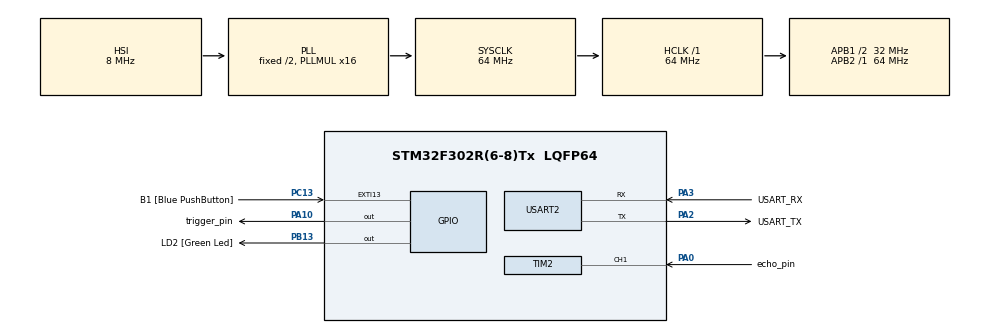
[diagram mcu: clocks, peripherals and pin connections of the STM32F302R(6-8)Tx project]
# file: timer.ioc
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FREERTOS.Tasks01=defaultTask,0,128,StartDefaultTask,Default,NULL
Mcu.Family=STM32F3
Mcu.Name=STM32F302R(6-8)Tx
Mcu.Package=LQFP64
NVIC.PriorityGroup=NVIC_PRIORITYGROUP_4
NVIC.TIM1_BRK_TIM15_IRQn=true\:5\:0\:false\:false\:true\:true\:true
NVIC.TIM2_IRQn=true\:5\:0\:false\:false\:true\:true\:true
PA0.GPIO_Label=echo_pin
PA0.Signal=S_TIM2_CH1_ETR
PA10.GPIO_Label=trigger_pin
PA10.Signal=GPIO_Output
PA13.GPIO_Label=TMS
PA13.Mode=Serial_Wire
PA13.Signal=SYS_JTMS-SWDIO
PA14.GPIO_Label=TCK
PA14.Mode=Serial_Wire
PA14.Signal=SYS_JTCK-SWCLK
PA2.GPIO_Label=USART_TX
PA2.GPIO_Mode=GPIO_MODE_AF_PP
PA2.GPIO_PuPd=GPIO_NOPULL
PA2.GPIO_Speed=GPIO_SPEED_FREQ_LOW
PA2.Mode=Asynchronous
PA2.Signal=USART2_TX
PA3.GPIO_Label=USART_RX
PA3.GPIO_Mode=GPIO_MODE_AF_PP
PA3.GPIO_PuPd=GPIO_NOPULL
PA3.GPIO_Speed=GPIO_SPEED_FREQ_LOW
PA3.Mode=Asynchronous
PA3.Signal=USART2_RX
PB13.GPIO_Label=LD2 [Green Led]
PB13.Signal=GPIO_Output
PB3.GPIO_Label=SWO
PB3.Mode=Trace_Asynchronous_SW
PB3.Signal=SYS_JTDO-TRACESWO
PC13.GPIO_Label=B1 [Blue PushButton]
PC13.GPIO_ModeDefaultEXTI=GPIO_MODE_IT_FALLING
PC13.Signal=GPXTI13
PC14\ -\ OSC32_IN.Mode=LSE-External-Oscillator
PC14\ -\ OSC32_IN.Signal=RCC_OSC32_IN
PC15\ -\ OSC32_OUT.Mode=LSE-External-Oscillator
PC15\ -\ OSC32_OUT.Signal=RCC_OSC32_OUT
PF0-OSC_IN.Mode=HSE-External-Clock-Source
PF0-OSC_IN.Signal=RCC_OSC_IN
PF1-OSC_OUT.Signal=RCC_OSC_OUT
ProjectManager.HeapSize=0x200
ProjectManager.StackSize=0x400
ProjectManager.TargetToolchain=SW4STM32
RCC.AHBFreq_Value=64000000
RCC.APB1CLKDivider=RCC_HCLK_DIV2
RCC.APB1Freq_Value=32000000
RCC.APB1TimFreq_Value=64000000
RCC.APB2Freq_Value=64000000
RCC.APB2TimFreq_Value=64000000
RCC.CortexFreq_Value=64000000
RCC.HCLKFreq_Value=64000000
RCC.HSE_VALUE=8000000
RCC.HSI_VALUE=8000000
RCC.PLLM=8
RCC.PLLMUL=RCC_PLL_MUL16
RCC.PLLN=336
RCC.PLLP=RCC_PLLP_DIV4
RCC.PLLQ=7
RCC.RCC_PLLsource_Clock_Source_FROM_HSE=RCC_HSE_PREDIV_DIV2
RCC.SYSCLKFreq_VALUE=64000000
RCC.SYSCLKSourceVirtual=RCC_SYSCLKSOURCE_PLLCLK
RCC.USBFreq_Value=64000000
SH.S_TIM2_CH1_ETR.0=TIM2_CH1,Input_Capture1_from_TI1
TIM15.Period=9
TIM15.Prescaler=64
TIM2.Channel-Input_Capture1_from_TI1=TIM_CHANNEL_1
TIM2.ICFilter_CH1=15
TIM2.Period=23199
TIM2.Prescaler=64
USART2.VirtualMode-Asynchronous=VM_ASYNC
VP_FREERTOS_VS_ENABLE.Mode=Enabled
VP_TIM15_VS_ClockSourceINT.Mode=Internal
VP_TIM2_VS_ClockSourceINT.Mode=Internal
board=NUCLEO-F302R8

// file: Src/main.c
/**
  ******************************************************************************
  * @file           : main.c
  * @brief          : Main program body
  ******************************************************************************
  * This notice applies to any and all portions of this file
  * that are not between comment pairs USER CODE BEGIN and
  * USER CODE END. Other portions of this file, whether
  * inserted by the user or by software development tools
  * are owned by their respective copyright owners.
  *
  * Copyright (c) 2018 STMicroelectronics International N.V.
  * All rights reserved.
  *
  * Redistribution and use in source and binary forms, with or without
  * modification, are permitted, provided that the following conditions are met:
  *
  * 1. Redistribution of source code must retain the above copyright notice,
  *    this list of conditions and the following disclaimer.
  * 2. Redistributions in binary form must reproduce the above copyright notice,
  *    this list of conditions and the following disclaimer in the documentation
  *    and/or other materials provided with the distribution.
  * 3. Neither the name of STMicroelectronics nor the names of other
  *    contributors to this software may be used to endorse or promote products
  *    derived from this software without specific written permission.
  * 4. This software, including modifications and/or derivative works of this
  *    software, must execute solely and exclusively on microcontroller or
  *    microprocessor devices manufactured by or for STMicroelectronics.
  * 5. Redistribution and use of this software other than as permitted under
  *    this license is void and will automatically terminate your rights under
  *    this license.
  *
  * THIS SOFTWARE IS PROVIDED BY STMICROELECTRONICS AND CONTRIBUTORS "AS IS"
  * AND ANY EXPRESS, IMPLIED OR STATUTORY WARRANTIES, INCLUDING, BUT NOT
  * LIMITED TO, THE IMPLIED WARRANTIES OF MERCHANTABILITY, FITNESS FOR A
  * PARTICULAR PURPOSE AND NON-INFRINGEMENT OF THIRD PARTY INTELLECTUAL PROPERTY
  * RIGHTS ARE DISCLAIMED TO THE FULLEST EXTENT PERMITTED BY LAW. IN NO EVENT
  * SHALL STMICROELECTRONICS OR CONTRIBUTORS BE LIABLE FOR ANY DIRECT, INDIRECT,
  * INCIDENTAL, SPECIAL, EXEMPLARY, OR CONSEQUENTIAL DAMAGES (INCLUDING, BUT NOT
  * LIMITED TO, PROCUREMENT OF SUBSTITUTE GOODS OR SERVICES; LOSS OF USE, DATA,
  * OR PROFITS; OR BUSINESS INTERRUPTION) HOWEVER CAUSED AND ON ANY THEORY OF
  * LIABILITY, WHETHER IN CONTRACT, STRICT LIABILITY, OR TORT (INCLUDING
  * NEGLIGENCE OR OTHERWISE) ARISING IN ANY WAY OUT OF THE USE OF THIS SOFTWARE,
  * EVEN IF ADVISED OF THE POSSIBILITY OF SUCH DAMAGE.
  *
  ******************************************************************************
  */
#include "main.h"
#include "stm32f3xx_hal.h"
#include "cmsis_os.h"

TIM_HandleTypeDef htim2;
TIM_HandleTypeDef htim15;

UART_HandleTypeDef huart2;

osThreadId defaultTaskHandle;

/* USER CODE BEGIN PV */
/* Private variables ---------------------------------------------------------*/
long count = 0;
long input_capture = 0;
uint8_t message[20];
uint8_t compteur = 0;
/* USER CODE END PV */

void SystemClock_Config(void);
static void MX_GPIO_Init(void);
static void MX_USART2_UART_Init(void);
static void MX_TIM2_Init(void);
static void MX_TIM15_Init(void);
void StartDefaultTask(void const * argument);

/* USER CODE BEGIN PFP */
/* Private function prototypes -----------------------------------------------*/
void HAL_TIM_IC_CaptureCallback(TIM_HandleTypeDef *htim);
void vider_message(uint8_t  message[], uint8_t compteur);
/* USER CODE END PFP */

/* USER CODE BEGIN 0 */
void HAL_TIM_IC_CaptureCallback(TIM_HandleTypeDef *htim) {
	if (htim->Instance == TIM2) {
		input_capture = __HAL_TIM_GET_COMPARE(&htim2, TIM_CHANNEL_1);
		__HAL_TIM_SET_COUNTER(&htim2, 0);
	}
	if (htim->Instance == TIM15) {
		compteur = 1;
	}
}

void vider_message(uint8_t  message[], uint8_t compteur) {
	for (int i = 0; i < compteur; i++) {
		message[i] = 0;
	}
}
/* USER CODE END 0 */

int main(void)
{

  /* MCU Configuration----------------------------------------------------------*/

  /* Reset of all peripherals, Initializes the Flash interface and the Systick. */
  HAL_Init();

  /* Configure the system clock */
  SystemClock_Config();

  /* Initialize all configured peripherals */
  MX_GPIO_Init();
  MX_USART2_UART_Init();
  MX_TIM2_Init();
  MX_TIM15_Init();
  /* USER CODE BEGIN 2 */
  HAL_TIM_IC_Start_IT(&htim2, TIM_CHANNEL_1);
  HAL_TIM_Base_Start_IT(&htim15);
  /* USER CODE END 2 */

  /* Create the thread(s) */
  /* definition and creation of defaultTask */
  osThreadDef(defaultTask, StartDefaultTask, osPriorityNormal, 0, 128);
  defaultTaskHandle = osThreadCreate(osThread(defaultTask), NULL);

  /* Start scheduler */
  osKernelStart();

  /* We should never get here as control is now taken by the scheduler */

  /* Infinite loop */
  while (1)
  {

  }

}

void SystemClock_Config(void)
{

  RCC_OscInitTypeDef RCC_OscInitStruct;
  RCC_ClkInitTypeDef RCC_ClkInitStruct;
  RCC_PeriphCLKInitTypeDef PeriphClkInit;

    /**Initializes the CPU, AHB and APB busses clocks
    */
  RCC_OscInitStruct.OscillatorType = RCC_OSCILLATORTYPE_HSI;
  RCC_OscInitStruct.HSIState = RCC_HSI_ON;
  RCC_OscInitStruct.HSICalibrationValue = 16;
  RCC_OscInitStruct.PLL.PLLState = RCC_PLL_ON;
  RCC_OscInitStruct.PLL.PLLSource = RCC_PLLSOURCE_HSI;
  RCC_OscInitStruct.PLL.PLLMUL = RCC_PLL_MUL16;
  if (HAL_RCC_OscConfig(&RCC_OscInitStruct) != HAL_OK)
  {
    _Error_Handler(__FILE__, __LINE__);
  }

    /**Initializes the CPU, AHB and APB busses clocks
    */
  RCC_ClkInitStruct.ClockType = RCC_CLOCKTYPE_HCLK|RCC_CLOCKTYPE_SYSCLK
                              |RCC_CLOCKTYPE_PCLK1|RCC_CLOCKTYPE_PCLK2;
  RCC_ClkInitStruct.SYSCLKSource = RCC_SYSCLKSOURCE_PLLCLK;
  RCC_ClkInitStruct.AHBCLKDivider = RCC_SYSCLK_DIV1;
  RCC_ClkInitStruct.APB1CLKDivider = RCC_HCLK_DIV2;
  RCC_ClkInitStruct.APB2CLKDivider = RCC_HCLK_DIV1;

  if (HAL_RCC_ClockConfig(&RCC_ClkInitStruct, FLASH_LATENCY_2) != HAL_OK)
  {
    _Error_Handler(__FILE__, __LINE__);
  }

  PeriphClkInit.PeriphClockSelection = RCC_PERIPHCLK_TIM15;
  PeriphClkInit.Tim15ClockSelection = RCC_TIM15CLK_HCLK;
  if (HAL_RCCEx_PeriphCLKConfig(&PeriphClkInit) != HAL_OK)
  {
    _Error_Handler(__FILE__, __LINE__);
  }

    /**Configure the Systick interrupt time
    */
  HAL_SYSTICK_Config(HAL_RCC_GetHCLKFreq()/1000);

    /**Configure the Systick
    */
  HAL_SYSTICK_CLKSourceConfig(SYSTICK_CLKSOURCE_HCLK);

  /* SysTick_IRQn interrupt configuration */
  HAL_NVIC_SetPriority(SysTick_IRQn, 15, 0);
}

/* TIM2 init function */
static void MX_TIM2_Init(void)
{

  TIM_ClockConfigTypeDef sClockSourceConfig;
  TIM_MasterConfigTypeDef sMasterConfig;
  TIM_IC_InitTypeDef sConfigIC;

  htim2.Instance = TIM2;
  htim2.Init.Prescaler = 64;
  htim2.Init.CounterMode = TIM_COUNTERMODE_UP;
  htim2.Init.Period = 23199;
  htim2.Init.ClockDivision = TIM_CLOCKDIVISION_DIV1;
  htim2.Init.AutoReloadPreload = TIM_AUTORELOAD_PRELOAD_DISABLE;
  if (HAL_TIM_Base_Init(&htim2) != HAL_OK)
  {
    _Error_Handler(__FILE__, __LINE__);
  }

  sClockSourceConfig.ClockSource = TIM_CLOCKSOURCE_INTERNAL;
  if (HAL_TIM_ConfigClockSource(&htim2, &sClockSourceConfig) != HAL_OK)
  {
    _Error_Handler(__FILE__, __LINE__);
  }

  if (HAL_TIM_IC_Init(&htim2) != HAL_OK)
  {
    _Error_Handler(__FILE__, __LINE__);
  }

  sMasterConfig.MasterOutputTrigger = TIM_TRGO_RESET;
  sMasterConfig.MasterSlaveMode = TIM_MASTERSLAVEMODE_DISABLE;
  if (HAL_TIMEx_MasterConfigSynchronization(&htim2, &sMasterConfig) != HAL_OK)
  {
    _Error_Handler(__FILE__, __LINE__);
  }

  sConfigIC.ICPolarity = TIM_INPUTCHANNELPOLARITY_RISING;
  sConfigIC.ICSelection = TIM_ICSELECTION_DIRECTTI;
  sConfigIC.ICPrescaler = TIM_ICPSC_DIV1;
  sConfigIC.ICFilter = 15;
  if (HAL_TIM_IC_ConfigChannel(&htim2, &sConfigIC, TIM_CHANNEL_1) != HAL_OK)
  {
    _Error_Handler(__FILE__, __LINE__);
  }

}

/* TIM15 init function */
static void MX_TIM15_Init(void)
{

  TIM_ClockConfigTypeDef sClockSourceConfig;
  TIM_MasterConfigTypeDef sMasterConfig;

  htim15.Instance = TIM15;
  htim15.Init.Prescaler = 64;
  htim15.Init.CounterMode = TIM_COUNTERMODE_UP;
  htim15.Init.Period = 9;
  htim15.Init.ClockDivision = TIM_CLOCKDIVISION_DIV1;
  htim15.Init.RepetitionCounter = 0;
  htim15.Init.AutoReloadPreload = TIM_AUTORELOAD_PRELOAD_DISABLE;
  if (HAL_TIM_Base_Init(&htim15) != HAL_OK)
  {
    _Error_Handler(__FILE__, __LINE__);
  }

  sClockSourceConfig.ClockSource = TIM_CLOCKSOURCE_INTERNAL;
  if (HAL_TIM_ConfigClockSource(&htim15, &sClockSourceConfig) != HAL_OK)
  {
    _Error_Handler(__FILE__, __LINE__);
  }

  sMasterConfig.MasterOutputTrigger = TIM_TRGO_RESET;
  sMasterConfig.MasterSlaveMode = TIM_MASTERSLAVEMODE_DISABLE;
  if (HAL_TIMEx_MasterConfigSynchronization(&htim15, &sMasterConfig) != HAL_OK)
  {
    _Error_Handler(__FILE__, __LINE__);
  }

}

/* USART2 init function */
static void MX_USART2_UART_Init(void)
{

  huart2.Instance = USART2;
  huart2.Init.BaudRate = 38400;
  huart2.Init.StopBits = UART_STOPBITS_1;
  huart2.Init.Parity = UART_PARITY_NONE;
  huart2.Init.Mode = UART_MODE_TX_RX;
  huart2.Init.HwFlowCtl = UART_HWCONTROL_NONE;
  huart2.Init.OverSampling = UART_OVERSAMPLING_16;
  huart2.Init.OneBitSampling = UART_ONE_BIT_SAMPLE_DISABLE;
  huart2.AdvancedInit.AdvFeatureInit = UART_ADVFEATURE_NO_INIT;
  if (HAL_UART_Init(&huart2) != HAL_OK)
  {
    _Error_Handler(__FILE__, __LINE__);
  }

}

/** Configure pins as
        * Analog
        * Input
        * Output
        * EVENT_OUT
        * EXTI
*/
static void MX_GPIO_Init(void)
{

  GPIO_InitTypeDef GPIO_InitStruct;

  /* GPIO Ports Clock Enable */
  __HAL_RCC_GPIOC_CLK_ENABLE();
  __HAL_RCC_GPIOF_CLK_ENABLE();
  __HAL_RCC_GPIOA_CLK_ENABLE();
  __HAL_RCC_GPIOB_CLK_ENABLE();

  /*Configure GPIO pin Output Level */
  HAL_GPIO_WritePin(LD2_GPIO_Port, LD2_Pin, GPIO_PIN_RESET);

  /*Configure GPIO pin Output Level */
  HAL_GPIO_WritePin(trigger_pin_GPIO_Port, trigger_pin_Pin, GPIO_PIN_RESET);

  /*Configure GPIO pin : B1_Pin */
  GPIO_InitStruct.Pin = B1_Pin;
  GPIO_InitStruct.Mode = GPIO_MODE_IT_FALLING;
  GPIO_InitStruct.Pull = GPIO_NOPULL;
  HAL_GPIO_Init(B1_GPIO_Port, &GPIO_InitStruct);

  /*Configure GPIO pin : LD2_Pin */
  GPIO_InitStruct.Pin = LD2_Pin;
  GPIO_InitStruct.Mode = GPIO_MODE_OUTPUT_PP;
  GPIO_InitStruct.Pull = GPIO_NOPULL;
  GPIO_InitStruct.Speed = GPIO_SPEED_FREQ_LOW;
  HAL_GPIO_Init(LD2_GPIO_Port, &GPIO_InitStruct);

  /*Configure GPIO pin : trigger_pin_Pin */
  GPIO_InitStruct.Pin = trigger_pin_Pin;
  GPIO_InitStruct.Mode = GPIO_MODE_OUTPUT_PP;
  GPIO_InitStruct.Pull = GPIO_NOPULL;
  GPIO_InitStruct.Speed = GPIO_SPEED_FREQ_LOW;
  HAL_GPIO_Init(trigger_pin_GPIO_Port, &GPIO_InitStruct);

}

/* StartDefaultTask function */
void StartDefaultTask(void const * argument)
{

  /* USER CODE BEGIN 5 */
  sprintf(message, "Bonjour\r\n");
  HAL_UART_Transmit(&huart2, message, 20, 100);
  vider_message(message, 20);

  /* Infinite loop */
  for(;;)
  {
	  HAL_GPIO_WritePin(trigger_pin_GPIO_Port, trigger_pin_Pin, GPIO_PIN_RESET);
	  HAL_GPIO_WritePin(trigger_pin_GPIO_Port, trigger_pin_Pin, GPIO_PIN_SET);

	  sprintf(message, "Lancement.\r\n");
	  HAL_UART_Transmit(&huart2, message, 20, 100);
	  vider_message(message, 20);

	  if (compteur != 0) {

		  sprintf(message, "Arret.\r\n");
		  HAL_UART_Transmit(&huart2, message, 20, 100);

		  vider_message(message, 20);

		  compteur = 0;
		  HAL_GPIO_WritePin(trigger_pin_GPIO_Port, trigger_pin_Pin, GPIO_PIN_RESET);

		  count = __HAL_TIM_GET_COUNTER(&htim2) * (17 / 100);
		  sprintf(message, "%d\r\n", count);
		  HAL_UART_Transmit(&huart2, message, 20, 100);
	  }
	  osDelay(100);
  }
  /* USER CODE END 5 */
}

void _Error_Handler(char *file, int line)
{
  while(1)
  {
  }
}

/************************ (C) COPYRIGHT STMicroelectronics *****END OF FILE****/
